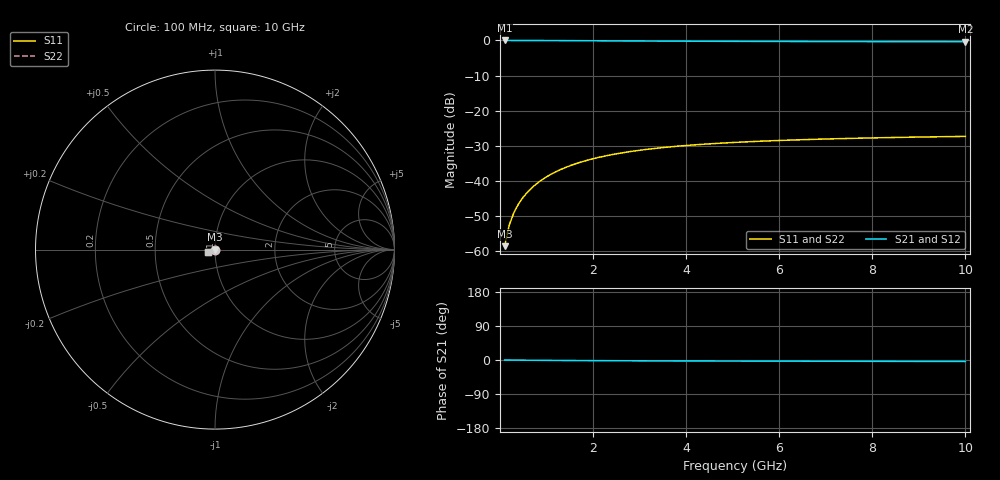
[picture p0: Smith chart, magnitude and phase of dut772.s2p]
! Touchstone file exported from HFSS 2024.1.0
!  File:  C:/UserFiles/LocalFiles/RDL_TSV_Batchsim/temp_TSV1_772_1779873630.aedt
!  Generated:  05:26:12 PM May 27, 2026
!  Design:  TSV1
!  Project:  temp_TSV1_772_1779873630
!  Setup:  Setup1
!  Solution:  Sweep
! Variables:
!  dtsv = 13.18um
!  hbump = 3um
!  htsv = 57.33um
!  lrdl = 252.1521522um
!  p = 40
!  p1 = 46.15um
!  t = 500um
!  trdl = 3um
!  wrdl = 24.89489489um
# GHz S MA R 50.000000
! Terminal data exported
! Port[1] = TSV22_T1
! Port[2] = TSV22_T2
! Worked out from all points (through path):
!   100 points, 100 MHz to 10 GHz, reference 50 ohm
!   highest |S21| = 0.00 dB at 100 MHz (marker M1); lowest = -0.4 dB at 10 GHz (marker M2)
!   lowest |S11| = -58.5 dB at 100 MHz (marker M3), VSWR 1.00, Z = 50 - j0.118 ohm
!   |S11| at or under -10 dB: start of sweep to end of sweep
!   |S22| runs from -58.5 to -27.3 dB; largest |S21 - S12| = 2.4e-15
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0.1  0.001185 -88.0  0.9999 -0.1  0.9999 -0.1  0.001185 -88.0
! Gamma 0 0 0 0
! Port Impedance 50 0 50 0
0.2  0.002372 -91.6  0.9998 -0.2  0.9998 -0.2  0.002372 -91.6
0.3  0.003558 -93.8  0.9996 -0.3  0.9996 -0.3  0.003558 -93.8
0.4  0.004735 -95.7  0.9994 -0.4  0.9994 -0.4  0.004735 -95.7
0.5  0.0059 -97.4  0.9991 -0.5  0.9991 -0.5  0.0059 -97.4
0.6  0.007052 -99.1  0.9987 -0.6  0.9987 -0.6  0.007052 -99.1
0.7  0.008186 -100.7  0.9983 -0.7  0.9983 -0.7  0.008186 -100.7
0.8  0.009302 -102.3  0.9978 -0.8  0.9978 -0.8  0.009302 -102.3
0.9  0.0104 -103.8  0.9973 -0.9  0.9973 -0.9  0.0104 -103.8
1.1  0.01252 -106.8  0.9961 -1.0  0.9961 -1.0  0.01252 -106.8
1.4  0.01551 -111.1  0.9941 -1.3  0.9941 -1.3  0.01551 -111.1
1.6  0.01737 -113.8  0.9927 -1.4  0.9927 -1.4  0.01737 -113.8
1.8  0.01912 -116.3  0.9912 -1.5  0.9912 -1.5  0.01912 -116.3
2.1  0.02154 -119.9  0.989 -1.7  0.989 -1.7  0.02154 -119.9
2.5  0.02438 -124.3  0.9861 -1.9  0.9861 -1.9  0.02438 -124.3
2.9  0.02684 -128.3  0.9833 -2.1  0.9833 -2.1  0.02684 -128.3
3.4  0.02945 -132.6  0.98 -2.3  0.98 -2.3  0.02945 -132.6
4.2  0.03278 -138.4  0.9754 -2.6  0.9754 -2.6  0.03278 -138.4
5.1  0.0356 -143.6  0.9712 -2.8  0.9712 -2.8  0.0356 -143.6
6.7  0.03912 -150.7  0.9656 -3.2  0.9656 -3.2  0.03912 -150.7
8.4  0.04158 -156.4  0.9616 -3.5  0.9616 -3.5  0.04158 -156.4
10  0.04317 -160.6  0.9589 -3.9  0.9589 -3.9  0.04317 -160.6
